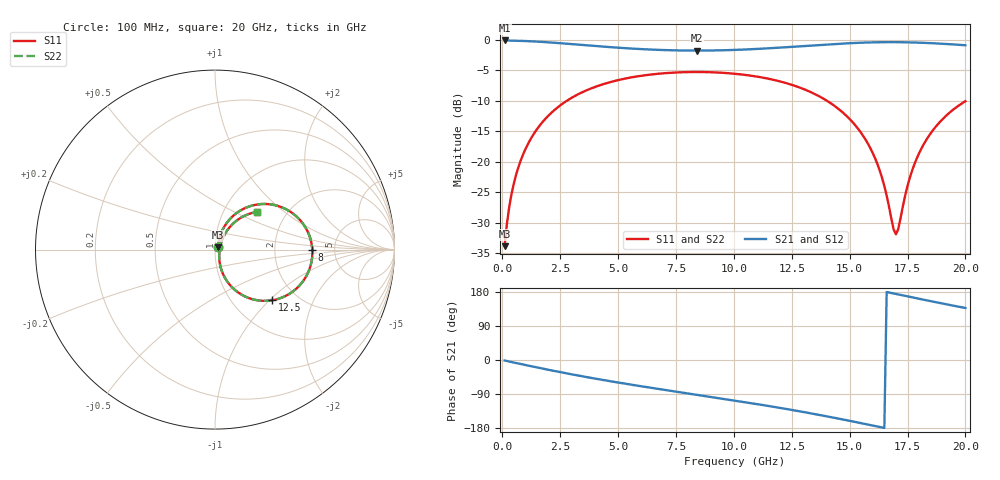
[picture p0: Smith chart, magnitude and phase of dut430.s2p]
! Touchstone file exported from HFSS 2026.1.0
!  File:  C:/ffzhzh/LocalFiles/Ansys_Project_Files/temp_train_TSV_RDL_430_1783097008_46604.aedt
!  Generated:  12:55:27 AM Jul  4, 2026
!  Design:  TSV_RDL
!  Project:  temp_train_TSV_RDL_430_1783097008_46604
! Variables:
!  h_bsmrdl = 5.85um
!  h_ox = 20um
!  h_rdl = 5um
!  h_sub = 54.93um
!  h_tmrdl = 5.14um
!  h_tsv = 54.93um
!  h_via = 3um
!  l_bsmrdl = 413.85um
!  l_sub = 3918.51um
!  l_tmrdl = 538.82um
!  m_sub = 200um
!  pitch = 47.97um
!  r_tsv = 3.92um
!  s_tmrdl = 10um
!  w_bsmrdl = 12.93um
!  w_sub = 500um
!  w_tmrdl = 27.63um
!  x_tsv_center1 = 552.635um
!  x_tsv_center2 = 979.415um
!  x_tsv_center3 = 1545.865um
!  x_tsv_center4 = 1972.645um
!  x_tsv_center5 = 2539.095um
!  x_tsv_center6 = 2965.875um
# GHz S MA R 50.000000
! Terminal data exported
! Port[1] = TM_RDL1_1_T1
! Port[2] = TM_RDL5_1_T1
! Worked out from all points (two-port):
!   200 points, 100 MHz to 20 GHz, reference 50 ohm
!   highest |S21| = -0.13 dB at 100 MHz (marker M1); lowest = -1.8 dB at 8.4 GHz (marker M2)
!   |S21| within 3 dB of the highest: start of sweep to end of sweep
!   lowest |S11| = -33.9 dB at 100 MHz (marker M3), VSWR 1.04, Z = 51.5 + j1.37 ohm
!   |S11| at or under -10 dB: start of sweep to 2.796 GHz; 14.01 GHz to end of sweep
!   |S22| runs from -33.9 to -5.3 dB; largest |S21 - S12| = 1.7e-14
!   S11 on the Smith chart (normalised r, x): 100 MHz: 1.03, +0.03; 8 GHz: 3.37, +0.00; 12.5 GHz: 1.51, -1.04; 20 GHz: 1.42, +0.66
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0.1  0.02026 40.9  0.9849 -1.4  0.9849 -1.4  0.02026 40.9
! Gamma 0 0 0 0
! Port Impedance 50 0 50 0
0.3  0.04252 63.5  0.983 -4.1  0.983 -4.1  0.04252 63.5
0.5  0.06638 68.5  0.9811 -6.7  0.9811 -6.7  0.06638 68.5
1.1  0.1385 67.9  0.9724 -14.5  0.9724 -14.5  0.1385 67.9
2.1  0.2495 58.1  0.9479 -27.2  0.9479 -27.2  0.2495 58.1
3.5  0.374 42.9  0.9035 -43.5  0.9035 -43.5  0.374 42.8
6.8  0.5266 10.7  0.8238 -76.9  0.8238 -76.9  0.5266 10.7
8  0.542 0.0  0.8141 -88.1  0.8141 -88.1  0.542 -0.0
8.4  0.543 -3.5  0.8134 -91.8  0.8134 -91.8  0.543 -3.5
10.1  0.5238 -18.7  0.8246 -107.6  0.8246 -107.6  0.5239 -18.7
12.5  0.4265 -41.4  0.8731 -131.7  0.8731 -131.7  0.4265 -41.4
13.4  0.3656 -50.4  0.8968 -141.6  0.8968 -141.6  0.3656 -50.4
14.7  0.2533 -63.5  0.9291 -156.8  0.9291 -156.8  0.2533 -63.5
15.6  0.1609 -71.0  0.9455 -167.9  0.9455 -167.9  0.161 -71.0
16.2  0.09547 -72.0  0.952 -175.5  0.952 -175.5  0.09549 -72.0
16.7  0.0429 -57.4  0.9541 178.1  0.9541 178.1  0.04291 -57.4
16.9  0.02782 -30.4  0.954 175.5  0.954 175.5  0.02782 -30.5
17  0.02536 -7.0  0.9538 174.3  0.9538 174.3  0.02535 -7.1
17.6  0.07374 55.1  0.9499 166.6  0.9499 166.6  0.07372 55.0
18.1  0.1279 57.6  0.9435 160.3  0.9435 160.3  0.1279 57.5
18.9  0.2116 52.5  0.9279 150.4  0.9279 150.4  0.2116 52.5
20  0.313 42.0  0.8997 137.3  0.8997 137.3  0.313 42.0
